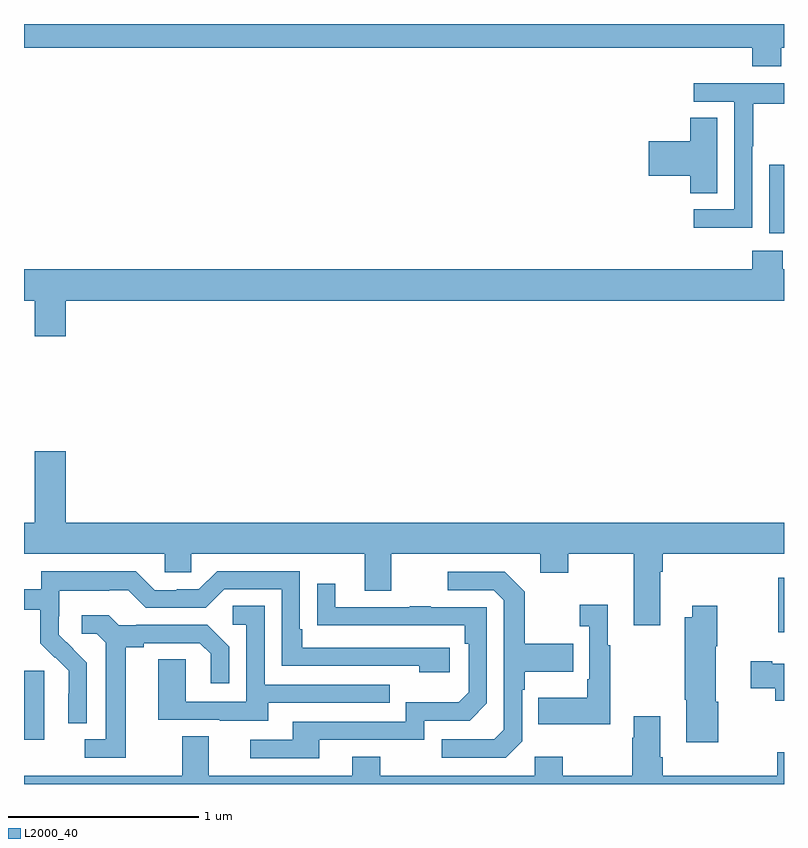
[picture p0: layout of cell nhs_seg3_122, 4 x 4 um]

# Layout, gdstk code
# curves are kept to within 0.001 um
import gdstk
lib = gdstk.Library(unit=1e-6, precision=1e-09)
def R(c, l, rs):  # rectangles x0, y0, x1, y1
    for r in rs: c.add(gdstk.rectangle(r[:2], r[2:], *l))
def P(c, l, *ps):  # polygons
    for p in ps: c.add(gdstk.Polygon(p, *l))
L2000_40 = (2000, 40)

nhs_seg3_122 = lib.new_cell('nhs_seg3_122')
R(nhs_seg3_122, L2000_40, [(117,670.634,117.106,670.995), (120.97,671.198,121,671.485), (120.923,673.298,121,673.659)])
P(nhs_seg3_122, L2000_40, [(120.985,674.276),(121,674.276),(121,674.4),(117,674.4),(117,674.276),(120.833,674.276),(120.833,674.177),(120.985,674.177)],
  [(120.834,673.756),(120.837,673.756),(120.837,673.98),(121,673.98),(121,674.088),(120.525,674.088),(120.525,673.992),(120.738,673.992),(120.738,673.425),(120.525,673.425),(120.525,673.327),(120.834,673.327)],
  [(120.649,673.907),(120.506,673.907),(120.506,673.784),(120.288,673.784),(120.288,673.601),(120.506,673.601),(120.506,673.51),(120.649,673.51)],
  [(117.22,672.944),(121,672.944),(121,673.108),(120.993,673.108),(120.993,673.207),(120.833,673.207),(120.833,673.108),(117,673.108),(117,672.944),(117.056,672.944),(117.056,672.756),(117.22,672.756)],
  [(120.349,671.516),(120.362,671.516),(120.362,671.612),(121,671.612),(121,671.776),(117.22,671.776),(117.22,672.151),(117.056,672.151),(117.056,671.776),(117,671.776),(117,671.612),(117.741,671.612),(117.741,671.514),(117.879,671.514),(117.879,671.612),(118.793,671.612),(118.793,671.418),(118.933,671.418),(118.933,671.612),(119.717,671.612),(119.717,671.513),(119.865,671.513),(119.865,671.612),(120.209,671.612),(120.209,671.235),(120.349,671.235)],
  [(117.33,671.038),(117.184,671.186),(117.184,671.283),(117.186,671.283),(117.186,671.417),(117.449,671.417),(117.449,671.421),(117.549,671.421),(117.642,671.328),(117.957,671.328),(118.053,671.424),(118.356,671.424),(118.356,671.022),(119.081,671.022),(119.081,670.988),(119.242,670.988),(119.242,671.118),(118.465,671.118),(118.465,671.215),(118.452,671.215),(118.452,671.52),(118.017,671.52),(117.921,671.424),(117.803,671.424),(117.803,671.421),(117.687,671.421),(117.587,671.521),(117.09,671.521),(117.09,671.424),(117,671.424),(117,671.316),(117.085,671.316),(117.085,671.141),(117.162,671.064),(117.165,671.067),(117.236,670.997),(117.236,670.874),(117.234,670.874),(117.234,670.72),(117.33,670.72)],
  [(119.622,670.626),(119.622,670.895),(119.635,670.895),(119.635,670.991),(119.891,670.991),(119.891,671.139),(119.635,671.139),(119.635,671.411),(119.529,671.517),(119.229,671.517),(119.229,671.421),(119.472,671.421),(119.526,671.367),(119.526,670.686),(119.475,670.635),(119.199,670.635),(119.199,670.539),(119.535,670.539)],
  [(118.555,670.632),(119.106,670.632),(119.106,670.734),(119.346,670.734),(119.436,670.824),(119.436,671.331),(119.141,671.331),(119.141,671.336),(119.029,671.336),(119.029,671.331),(118.639,671.331),(118.639,671.455),(118.543,671.455),(118.543,671.236),(119.32,671.235),(119.32,671.138),(119.34,671.138),(119.34,670.884),(119.287,670.831),(119.01,670.831),(119.01,670.728),(118.415,670.728),(118.415,670.632),(118.191,670.632),(118.191,670.536),(118.555,670.536)],
  [(120.085,671.131),(120.073,671.131),(120.073,671.344),(119.925,671.344),(119.925,671.231),(119.976,671.231),(119.976,670.951),(119.964,670.951),(119.964,670.855),(119.707,670.855),(119.707,670.715),(120.085,670.715)],
  [(118.285,670.827),(118.925,670.827),(118.925,670.923),(118.266,670.923),(118.266,671.339),(118.098,671.339),(118.098,671.238),(118.17,671.238),(118.17,670.833),(117.852,670.833),(117.852,671.057),(117.707,671.057),(117.707,670.737),(118.031,670.737),(118.031,670.733),(118.285,670.733)],
  [(120.653,670.832),(120.64,670.832),(120.64,671.125),(120.648,671.125),(120.648,671.338),(120.518,671.338),(120.518,671.278),(120.478,671.278),(120.478,670.843),(120.485,670.843),(120.485,670.62),(120.653,670.62)],
  [(117.535,671.12),(117.631,671.12),(117.631,671.142),(117.926,671.142),(117.983,671.085),(117.983,670.929),(118.08,670.929),(118.08,671.122),(117.964,671.238),(117.592,671.238),(117.592,671.235),(117.498,671.235),(117.446,671.287),(117.303,671.287),(117.303,671.19),(117.384,671.19),(117.431,671.143),(117.431,670.635),(117.321,670.635),(117.321,670.539),(117.535,670.539)],
  [(121,671.032),(120.937,671.032),(120.937,671.045),(120.825,671.045),(120.825,670.903),(120.955,670.903),(120.955,670.838),(121,670.838)],
  [(121,670.568),(120.965,670.568),(120.965,670.444),(120.362,670.444),(120.362,670.54),(120.349,670.54),(120.349,670.756),(120.209,670.756),(120.209,670.643),(120.202,670.643),(120.202,670.444),(119.835,670.444),(119.835,670.543),(119.688,670.543),(119.688,670.444),(118.875,670.444),(118.875,670.543),(118.727,670.543),(118.727,670.444),(117.973,670.444),(117.973,670.652),(117.833,670.652),(117.833,670.444),(117,670.444),(117,670.4),(121,670.4)])

lib.write_gds('nhs_seg3_122.gds')
